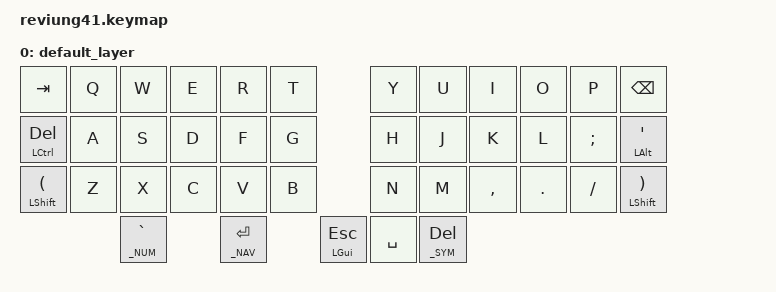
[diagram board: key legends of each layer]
/*
 * Copyright (c) 2020 The ZMK Contributors
 *
 * SPDX-License-Identifier: MIT
 */

#include <behaviors.dtsi>
#include <dt-bindings/zmk/keys.h>
#include <dt-bindings/zmk/bt.h>
#include <dt-bindings/zmk/rgb.h>

#define _DEF 0
#define _NUM 1
#define _SYM 2
#define _NAV 3

&mt {
        tapping-term-ms = <200>;
        quick-tap-ms = <200>;
};

&lt {
        tapping-term-ms = <150>;
        quick-tap-ms = <0>;
};

/ {
keymap {
        compatible = "zmk,keymap";
        default_layer {                      					  
                bindings = <
                        // -------------------------------------------------------------------------------------------------------------------------
                        // |  -------   -----   -----   -----   -----   -----                     -----   -----   -----   -----   -----   -------  |
                        // | |  TAB  | |  Q  | |  W  | |  E  | |  R  | |  T  |                   |  Y  | |  U  | |  I  | |  O  | |  P  | |  BCK  | |
                        // |  -------   -----   -----   -----   -----   -----                     -----   -----   -----   -----   -----   -------  |
                        // |  -------   -----   -----   -----   -----   -----                     -----   -----   -----   -----   -----   -------  |
                        // | |CTRLDEL| |  A  | |  S  | |  D  | |  F  | |  G  |                   |  H  | |  J  | |  K  | |  L  | |  :  | | ALT ' | |
                        // |  -------   -----   -----   -----   -----   -----                     -----   -----   -----   -----   -----   -------  |
                        // |  -------   -----   -----   -----   -----   -----                     -----   -----   -----   -----   -----   -------  |
                        // | | SFT ( | |  Z  | |  X  | |  C  | |  V  | |  B  |                   |  N  | |  M  | |  ,  | |  .  | |  /  | | SFT ) | |
                        // |  -------   -----   -----   -----   -----   -----                     -----   -----   -----   -----   -----   -------  |
                        // |                          ------------   ----------     ---------     ---------   ---------                            |
                        // |                         | _NUM GRAVE | | _NAV ENT |   | GUI ESC |   | SPACE   | | _SYM DEL|                           |
                        // |                          ------------   ----------     ---------     ---------   ---------                            |
                        // -------------------------------------------------------------------------------------------------------------------------

                        &kp TAB          &kp Q   &kp W   &kp E      &kp R    &kp T                    &kp Y       &kp U      &kp I       &kp O     &kp P      &kp BACKSPACE
                        &mt LCTRL DEL    &kp A   &kp S   &kp D      &kp F    &kp G                    &kp H       &kp J      &kp K       &kp L     &kp SEMI   &mt LALT APOSTROPHE
                        &mt LSHFT LPAR   &kp Z   &kp X   &kp C      &kp V    &kp B                    &kp N       &kp M      &kp COMMA   &kp DOT   &kp FSLH   &mt LSHFT RPAR  
                                                 &lt _NUM GRAVE     &lt _NAV ENTER   &mt LGUI ESC     &kp SPACE   &lt _SYM DEL
                        >;
                };
	};
};
